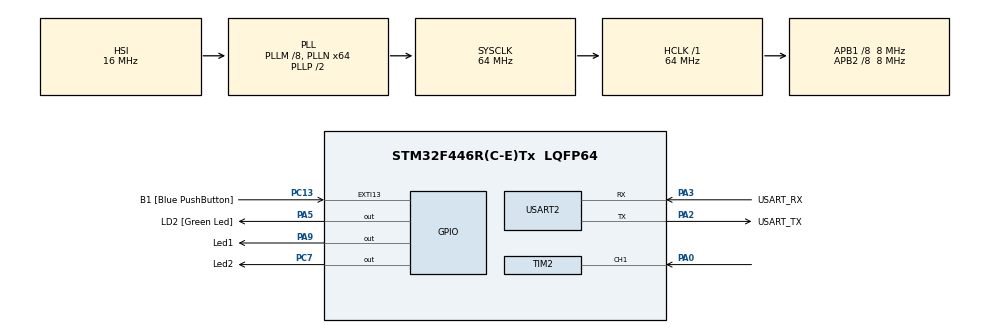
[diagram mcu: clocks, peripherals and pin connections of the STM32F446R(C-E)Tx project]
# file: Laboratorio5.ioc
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Mcu.Family=STM32F4
Mcu.Name=STM32F446R(C-E)Tx
Mcu.Package=LQFP64
NVIC.PriorityGroup=NVIC_PRIORITYGROUP_0
NVIC.TIM1_UP_TIM10_IRQn=true\:0\:0\:false\:false\:true\:true\:true\:true
NVIC.TIM2_IRQn=true\:0\:0\:false\:false\:true\:true\:true\:true
NVIC.TIM6_DAC_IRQn=true\:0\:0\:false\:false\:true\:true\:true\:true
NVIC.USART2_IRQn=true\:0\:0\:false\:false\:true\:true\:true\:true
PA0-WKUP.Signal=S_TIM2_CH1_ETR
PA13.GPIO_Label=TMS
PA13.Mode=Serial_Wire
PA13.Signal=SYS_JTMS-SWDIO
PA14.GPIO_Label=TCK
PA14.Mode=Serial_Wire
PA14.Signal=SYS_JTCK-SWCLK
PA2.GPIO_Label=USART_TX
PA2.Mode=Asynchronous
PA2.Signal=USART2_TX
PA3.GPIO_Label=USART_RX
PA3.Mode=Asynchronous
PA3.Signal=USART2_RX
PA5.GPIO_Label=LD2 [Green Led]
PA5.Signal=GPIO_Output
PA9.GPIO_Label=Led1
PA9.Signal=GPIO_Output
PB3.GPIO_Label=SWO
PB3.Signal=SYS_JTDO-SWO
PC13.GPIO_Label=B1 [Blue PushButton]
PC13.GPIO_ModeDefaultEXTI=GPIO_MODE_IT_FALLING
PC13.Signal=GPXTI13
PC14-OSC32_IN.Mode=LSE-External-Oscillator
PC14-OSC32_IN.Signal=RCC_OSC32_IN
PC15-OSC32_OUT.Mode=LSE-External-Oscillator
PC15-OSC32_OUT.Signal=RCC_OSC32_OUT
PC7.GPIO_Label=Led2
PC7.Signal=GPIO_Output
PH0-OSC_IN.Mode=HSE-External-Oscillator
PH0-OSC_IN.Signal=RCC_OSC_IN
PH1-OSC_OUT.Mode=HSE-External-Oscillator
PH1-OSC_OUT.Signal=RCC_OSC_OUT
ProjectManager.HeapSize=0x200
ProjectManager.StackSize=0x400
ProjectManager.TargetToolchain=STM32CubeIDE
RCC.48MHZClocksFreq_Value=84000000
RCC.AHBFreq_Value=64000000
RCC.APB1CLKDivider=RCC_HCLK_DIV8
RCC.APB1Freq_Value=8000000
RCC.APB1TimFreq_Value=16000000
RCC.APB2CLKDivider=RCC_HCLK_DIV8
RCC.APB2Freq_Value=8000000
RCC.APB2TimFreq_Value=16000000
RCC.CortexFreq_Value=64000000
RCC.FLatency-AdvancedSettings=FLASH_LATENCY_2
RCC.HCLKFreq_Value=64000000
RCC.HSE_VALUE=8000000
RCC.HSI_VALUE=16000000
RCC.PLLM=8
RCC.PLLN=64
RCC.SYSCLKFreq_VALUE=64000000
RCC.SYSCLKSource=RCC_SYSCLKSOURCE_PLLCLK
RCC.USBFreq_Value=64000000
RCC.VCOOutputFreq_Value=128000000
SH.S_TIM2_CH1_ETR.0=TIM2_CH1,Input_Capture1_from_TI1
TIM10.AutoReloadPreload=TIM_AUTORELOAD_PRELOAD_ENABLE
TIM10.Period=999-1
TIM10.Prescaler=16000-1
TIM2.AutoReloadPreload=TIM_AUTORELOAD_PRELOAD_ENABLE
TIM2.Channel-Input_Capture1_from_TI1=TIM_CHANNEL_1
TIM2.Prescaler=48-1
TIM6.AutoReloadPreload=TIM_AUTORELOAD_PRELOAD_ENABLE
TIM6.Period=249-1
TIM6.Prescaler=16000-1
TIM6.TIM_MasterOutputTrigger=TIM_TRGO_UPDATE
USART2.OverSampling=UART_OVERSAMPLING_8
USART2.VirtualMode=VM_ASYNC
VP_TIM10_VS_ClockSourceINT.Mode=Enable_Timer
VP_TIM6_VS_ClockSourceINT.Mode=Enable_Timer
board=NUCLEO-F446RE

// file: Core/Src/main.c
/* USER CODE BEGIN Header */
/**
  ******************************************************************************
  * @file           : main.c
  * @brief          : Main program body
  ******************************************************************************
  * @attention
  *
  * Copyright (c) 2026 STMicroelectronics.
  * All rights reserved.
  *
  * This software is licensed under terms that can be found in the LICENSE file
  * in the root directory of this software component.
  * If no LICENSE file comes with this software, it is provided AS-IS.
  *
  ******************************************************************************
  */
/* USER CODE END Header */
#include "main.h"

/* USER CODE BEGIN Includes */
#include <stdint.h>
#include <stdio.h>
/* USER CODE END Includes */

/* USER CODE BEGIN PD */
#define ftimclk 1000000
/* USER CODE END PD */

TIM_HandleTypeDef htim2;
TIM_HandleTypeDef htim6;
TIM_HandleTypeDef htim10;

UART_HandleTypeDef huart2;

/* USER CODE BEGIN PV */
uint8_t flagMedicion = 0;
volatile uint8_t numFlanco = 0;
volatile uint16_t flanco1 = 0;
volatile uint16_t flanco2 = 0;

uint16_t delta = 0;
float frecuencia;
uint16_t cont_led1 = 0;
uint16_t cont_led2 = 0;

uint8_t buffer[10];
uint8_t dato = 10;
uint8_t datoArray[10];
/* USER CODE END PV */

void SystemClock_Config(void);
static void MX_GPIO_Init(void);
static void MX_TIM2_Init(void);
static void MX_USART2_UART_Init(void);
static void MX_TIM6_Init(void);
static void MX_TIM10_Init(void);

int main(void)
{

  /* MCU Configuration--------------------------------------------------------*/

  /* Reset of all peripherals, Initializes the Flash interface and the Systick. */
  HAL_Init();

  /* Configure the system clock */
  SystemClock_Config();

  /* Initialize all configured peripherals */
  MX_GPIO_Init();
  MX_TIM2_Init();
  MX_USART2_UART_Init();
  MX_TIM6_Init();
  MX_TIM10_Init();
  /* USER CODE BEGIN 2 */
  uint8_t prueba[] = "hola mundo\n\r";
  HAL_UART_Transmit(&huart2, prueba, sizeof(prueba)-1, 1000);
  //enviar numero
  sprintf(datoArray, "%d", dato);
  HAL_UART_Transmit(&huart2, datoArray, sizeof(datoArray)-1, 1000);

  //iniciemos timers
  HAL_TIM_Base_Start_IT(&htim6);
  HAL_TIM_Base_Start_IT(&htim10);
  /* USER CODE END 2 */

  /* Infinite loop */
  /* USER CODE BEGIN WHILE */
  while (1)
  {
	  HAL_TIM_IC_Start_IT(&htim2, TIM_CHANNEL_1);
	  //HAL_UART_Receive(&huart2, buffer, 5, HAL_MAX_DELAY);
	  while(flagMedicion == 0){

	  }
	  flagMedicion = 0;
	  delta = flanco2 - flanco1;
	  frecuencia = (ftimclk/(float) delta);
	  sprintf(datoArray, "%.2f\r\n", frecuencia);
	  HAL_UART_Transmit(&huart2, datoArray, sizeof(datoArray)-1, 1000);
	  uint8_t prueba[] = "\n\r";
	  HAL_UART_Transmit(&huart2, prueba, sizeof(prueba)-1, 1000);
    /* USER CODE END WHILE */

  }
}

void SystemClock_Config(void)
{
  RCC_OscInitTypeDef RCC_OscInitStruct = {0};
  RCC_ClkInitTypeDef RCC_ClkInitStruct = {0};

  /** Configure the main internal regulator output voltage
  */
  __HAL_RCC_PWR_CLK_ENABLE();
  __HAL_PWR_VOLTAGESCALING_CONFIG(PWR_REGULATOR_VOLTAGE_SCALE3);

  /** Initializes the RCC Oscillators according to the specified parameters
  * in the RCC_OscInitTypeDef structure.
  */
  RCC_OscInitStruct.OscillatorType = RCC_OSCILLATORTYPE_HSI;
  RCC_OscInitStruct.HSIState = RCC_HSI_ON;
  RCC_OscInitStruct.HSICalibrationValue = RCC_HSICALIBRATION_DEFAULT;
  RCC_OscInitStruct.PLL.PLLState = RCC_PLL_ON;
  RCC_OscInitStruct.PLL.PLLSource = RCC_PLLSOURCE_HSI;
  RCC_OscInitStruct.PLL.PLLM = 8;
  RCC_OscInitStruct.PLL.PLLN = 64;
  RCC_OscInitStruct.PLL.PLLP = RCC_PLLP_DIV2;
  RCC_OscInitStruct.PLL.PLLQ = 2;
  RCC_OscInitStruct.PLL.PLLR = 2;
  if (HAL_RCC_OscConfig(&RCC_OscInitStruct) != HAL_OK)
  {
    Error_Handler();
  }

  /** Initializes the CPU, AHB and APB buses clocks
  */
  RCC_ClkInitStruct.ClockType = RCC_CLOCKTYPE_HCLK|RCC_CLOCKTYPE_SYSCLK
                              |RCC_CLOCKTYPE_PCLK1|RCC_CLOCKTYPE_PCLK2;
  RCC_ClkInitStruct.SYSCLKSource = RCC_SYSCLKSOURCE_PLLCLK;
  RCC_ClkInitStruct.AHBCLKDivider = RCC_SYSCLK_DIV1;
  RCC_ClkInitStruct.APB1CLKDivider = RCC_HCLK_DIV8;
  RCC_ClkInitStruct.APB2CLKDivider = RCC_HCLK_DIV8;

  if (HAL_RCC_ClockConfig(&RCC_ClkInitStruct, FLASH_LATENCY_2) != HAL_OK)
  {
    Error_Handler();
  }
}

static void MX_TIM2_Init(void)
{

  TIM_MasterConfigTypeDef sMasterConfig = {0};
  TIM_IC_InitTypeDef sConfigIC = {0};

  htim2.Instance = TIM2;
  htim2.Init.Prescaler = 48-1;
  htim2.Init.CounterMode = TIM_COUNTERMODE_UP;
  htim2.Init.Period = 4294967295;
  htim2.Init.ClockDivision = TIM_CLOCKDIVISION_DIV1;
  htim2.Init.AutoReloadPreload = TIM_AUTORELOAD_PRELOAD_ENABLE;
  if (HAL_TIM_IC_Init(&htim2) != HAL_OK)
  {
    Error_Handler();
  }
  sMasterConfig.MasterOutputTrigger = TIM_TRGO_RESET;
  sMasterConfig.MasterSlaveMode = TIM_MASTERSLAVEMODE_DISABLE;
  if (HAL_TIMEx_MasterConfigSynchronization(&htim2, &sMasterConfig) != HAL_OK)
  {
    Error_Handler();
  }
  sConfigIC.ICPolarity = TIM_INPUTCHANNELPOLARITY_RISING;
  sConfigIC.ICSelection = TIM_ICSELECTION_DIRECTTI;
  sConfigIC.ICPrescaler = TIM_ICPSC_DIV1;
  sConfigIC.ICFilter = 0;
  if (HAL_TIM_IC_ConfigChannel(&htim2, &sConfigIC, TIM_CHANNEL_1) != HAL_OK)
  {
    Error_Handler();
  }

}

static void MX_TIM6_Init(void)
{

  TIM_MasterConfigTypeDef sMasterConfig = {0};

  htim6.Instance = TIM6;
  htim6.Init.Prescaler = 16000-1;
  htim6.Init.CounterMode = TIM_COUNTERMODE_UP;
  htim6.Init.Period = 249-1;
  htim6.Init.AutoReloadPreload = TIM_AUTORELOAD_PRELOAD_ENABLE;
  if (HAL_TIM_Base_Init(&htim6) != HAL_OK)
  {
    Error_Handler();
  }
  sMasterConfig.MasterOutputTrigger = TIM_TRGO_UPDATE;
  sMasterConfig.MasterSlaveMode = TIM_MASTERSLAVEMODE_DISABLE;
  if (HAL_TIMEx_MasterConfigSynchronization(&htim6, &sMasterConfig) != HAL_OK)
  {
    Error_Handler();
  }

}

static void MX_TIM10_Init(void)
{

  htim10.Instance = TIM10;
  htim10.Init.Prescaler = 16000-1;
  htim10.Init.CounterMode = TIM_COUNTERMODE_UP;
  htim10.Init.Period = 999-1;
  htim10.Init.ClockDivision = TIM_CLOCKDIVISION_DIV1;
  htim10.Init.AutoReloadPreload = TIM_AUTORELOAD_PRELOAD_ENABLE;
  if (HAL_TIM_Base_Init(&htim10) != HAL_OK)
  {
    Error_Handler();
  }

}

static void MX_USART2_UART_Init(void)
{

  huart2.Instance = USART2;
  huart2.Init.BaudRate = 115200;
  huart2.Init.WordLength = UART_WORDLENGTH_8B;
  huart2.Init.StopBits = UART_STOPBITS_1;
  huart2.Init.Parity = UART_PARITY_NONE;
  huart2.Init.Mode = UART_MODE_TX_RX;
  huart2.Init.HwFlowCtl = UART_HWCONTROL_NONE;
  huart2.Init.OverSampling = UART_OVERSAMPLING_8;
  if (HAL_UART_Init(&huart2) != HAL_OK)
  {
    Error_Handler();
  }

}

static void MX_GPIO_Init(void)
{
  GPIO_InitTypeDef GPIO_InitStruct = {0};

  /* GPIO Ports Clock Enable */
  __HAL_RCC_GPIOC_CLK_ENABLE();
  __HAL_RCC_GPIOH_CLK_ENABLE();
  __HAL_RCC_GPIOA_CLK_ENABLE();
  __HAL_RCC_GPIOB_CLK_ENABLE();

  /*Configure GPIO pin Output Level */
  HAL_GPIO_WritePin(GPIOA, LD2_Pin|Led1_Pin, GPIO_PIN_RESET);

  /*Configure GPIO pin Output Level */
  HAL_GPIO_WritePin(Led2_GPIO_Port, Led2_Pin, GPIO_PIN_RESET);

  /*Configure GPIO pin : B1_Pin */
  GPIO_InitStruct.Pin = B1_Pin;
  GPIO_InitStruct.Mode = GPIO_MODE_IT_FALLING;
  GPIO_InitStruct.Pull = GPIO_NOPULL;
  HAL_GPIO_Init(B1_GPIO_Port, &GPIO_InitStruct);

  /*Configure GPIO pins : LD2_Pin Led1_Pin */
  GPIO_InitStruct.Pin = LD2_Pin|Led1_Pin;
  GPIO_InitStruct.Mode = GPIO_MODE_OUTPUT_PP;
  GPIO_InitStruct.Pull = GPIO_NOPULL;
  GPIO_InitStruct.Speed = GPIO_SPEED_FREQ_LOW;
  HAL_GPIO_Init(GPIOA, &GPIO_InitStruct);

  /*Configure GPIO pin : Led2_Pin */
  GPIO_InitStruct.Pin = Led2_Pin;
  GPIO_InitStruct.Mode = GPIO_MODE_OUTPUT_PP;
  GPIO_InitStruct.Pull = GPIO_NOPULL;
  GPIO_InitStruct.Speed = GPIO_SPEED_FREQ_LOW;
  HAL_GPIO_Init(Led2_GPIO_Port, &GPIO_InitStruct);

}

/* USER CODE BEGIN 4 */
void HAL_TIM_IC_CaptureCallback(TIM_HandleTypeDef *htim){
	if (numFlanco == 0){
		//primer flanco
		flanco1 = HAL_TIM_ReadCapturedValue(htim, TIM_CHANNEL_1);
		numFlanco = 1;
	} else{
		flanco2 = HAL_TIM_ReadCapturedValue(htim, TIM_CHANNEL_1);
		HAL_TIM_IC_Stop(&htim2, TIM_CHANNEL_1);
		flagMedicion = 1;
		numFlanco = 0;
	}
}
void HAL_TIM_PeriodElapsedCallback(TIM_HandleTypeDef *htim){
	if(htim == &htim6){
		HAL_GPIO_TogglePin(Led1_GPIO_Port, Led1_Pin);

	} else if(htim == &htim10){
		HAL_GPIO_TogglePin(Led2_GPIO_Port, Led2_Pin);
	}
}
/* USER CODE END 4 */

void Error_Handler(void)
{
  __disable_irq();
  while (1)
  {
  }
}
